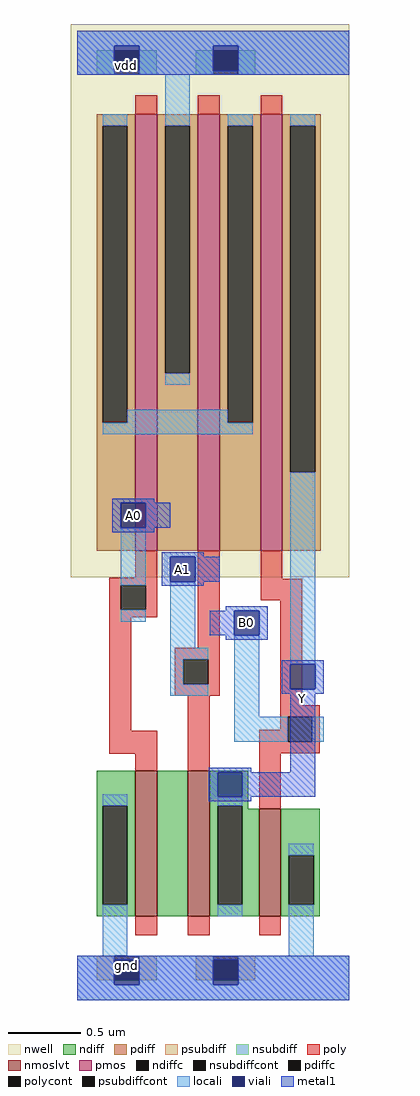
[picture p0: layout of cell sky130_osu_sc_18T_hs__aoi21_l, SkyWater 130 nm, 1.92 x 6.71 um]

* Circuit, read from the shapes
.subckt sky130_osu_sc_18T_hs__aoi21_l A0 B0 Y A1
XM1 n1 A0 gnd gnd sky130_fd_pr__nfet_01v8_lvt w=1 l=0.15
XM2 Y A1 n1 gnd sky130_fd_pr__nfet_01v8_lvt w=1 l=0.15
XM3 gnd B0 Y gnd sky130_fd_pr__nfet_01v8_lvt w=0.74 l=0.15
XM4 vdd A0 n2 vdd sky130_fd_pr__pfet_01v8 w=3 l=0.15
XM5 n2 A1 vdd vdd sky130_fd_pr__pfet_01v8 w=3 l=0.15
XM6 Y B0 n2 vdd sky130_fd_pr__pfet_01v8 w=3 l=0.15
.ends

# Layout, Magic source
magic
tech sky130A
magscale 1 2
<< nwell >>
rect -9 581 374 1341
<< pmos >>
rect 80 617 110 1217
rect 166 617 196 1217
rect 252 617 282 1217
<< nmoslvt >>
rect 80 115 110 315
rect 152 115 182 315
rect 250 115 280 263
<< ndiff >>
rect 27 267 80 315
rect 27 131 35 267
rect 69 131 80 267
rect 27 115 80 131
rect 110 115 152 315
rect 182 267 235 315
rect 182 131 193 267
rect 227 263 235 267
rect 227 131 250 263
rect 182 115 250 131
rect 280 199 333 263
rect 280 131 291 199
rect 325 131 333 199
rect 280 115 333 131
<< pdiff >>
rect 27 1201 80 1217
rect 27 793 35 1201
rect 69 793 80 1201
rect 27 617 80 793
rect 110 1201 166 1217
rect 110 861 121 1201
rect 155 861 166 1201
rect 110 617 166 861
rect 196 1201 252 1217
rect 196 793 207 1201
rect 241 793 252 1201
rect 196 617 252 793
rect 282 1201 335 1217
rect 282 725 293 1201
rect 327 725 335 1201
rect 282 617 335 725
<< ndiffc >>
rect 35 131 69 267
rect 193 131 227 267
rect 291 131 325 199
<< pdiffc >>
rect 35 793 69 1201
rect 121 861 155 1201
rect 207 793 241 1201
rect 293 725 327 1201
<< psubdiff >>
rect 27 27 51 61
rect 85 27 109 61
rect 163 27 187 61
rect 221 27 245 61
<< nsubdiff >>
rect 27 1271 51 1305
rect 85 1271 109 1305
rect 163 1271 187 1305
rect 221 1271 245 1305
<< psubdiffcont >>
rect 51 27 85 61
rect 187 27 221 61
<< nsubdiffcont >>
rect 51 1271 85 1305
rect 187 1271 221 1305
<< poly >>
rect 80 1217 110 1243
rect 166 1217 196 1243
rect 252 1217 282 1243
rect 80 580 110 617
rect 44 570 110 580
rect 44 536 60 570
rect 94 536 110 570
rect 44 526 110 536
rect 44 370 74 526
rect 166 484 196 617
rect 252 579 282 617
rect 252 549 309 579
rect 134 468 196 484
rect 134 434 146 468
rect 180 434 196 468
rect 134 418 196 434
rect 44 338 110 370
rect 80 315 110 338
rect 152 315 182 418
rect 279 405 309 549
rect 279 389 333 405
rect 279 371 289 389
rect 250 355 289 371
rect 323 355 333 389
rect 250 339 333 355
rect 250 263 280 339
rect 80 89 110 115
rect 152 89 182 115
rect 250 89 280 115
<< polycont >>
rect 60 536 94 570
rect 146 434 180 468
rect 289 355 323 389
<< locali >>
rect 0 1311 374 1332
rect 0 1271 51 1311
rect 85 1271 187 1311
rect 221 1271 374 1311
rect 35 1201 69 1217
rect 121 1201 155 1271
rect 121 845 155 861
rect 207 1201 241 1217
rect 69 793 207 811
rect 35 777 241 793
rect 293 1201 327 1217
rect 60 570 94 649
rect 60 520 94 536
rect 128 484 162 575
rect 128 468 180 484
rect 128 434 146 468
rect 128 418 180 434
rect 216 389 250 501
rect 293 461 327 725
rect 216 355 289 389
rect 323 355 339 389
rect 35 267 69 283
rect 35 61 69 131
rect 193 267 227 279
rect 193 115 227 131
rect 291 199 325 215
rect 291 61 325 131
rect 0 21 51 61
rect 85 21 187 61
rect 221 21 374 61
rect 0 0 374 21
<< viali >>
rect 51 1305 85 1311
rect 51 1277 85 1305
rect 187 1305 221 1311
rect 187 1277 221 1305
rect 60 649 94 683
rect 128 575 162 609
rect 216 501 250 535
rect 293 427 327 461
rect 193 279 227 313
rect 51 27 85 55
rect 51 21 85 27
rect 187 27 221 55
rect 187 21 221 27
<< metal1 >>
rect 0 1311 374 1332
rect 0 1277 51 1311
rect 85 1277 187 1311
rect 221 1277 374 1311
rect 0 1271 374 1277
rect 48 683 106 689
rect 48 649 60 683
rect 94 649 128 683
rect 48 643 106 649
rect 116 609 174 615
rect 116 575 128 609
rect 162 575 196 609
rect 116 569 174 575
rect 204 535 262 541
rect 182 501 216 535
rect 250 501 262 535
rect 204 495 262 501
rect 281 461 339 467
rect 281 427 293 461
rect 327 427 339 461
rect 281 421 339 427
rect 181 313 239 319
rect 293 313 327 421
rect 181 279 193 313
rect 227 279 327 313
rect 181 273 239 279
rect 0 55 374 61
rect 0 21 51 55
rect 85 21 187 55
rect 221 21 374 55
rect 0 0 374 21
<< labels >>
rlabel metal1 77 666 77 666 1 A0
port 1 n
rlabel metal1 233 518 233 518 1 B0
port 2 n
rlabel metal1 310 414 310 414 1 Y
port 3 n
rlabel metal1 145 592 145 592 1 A1
port 4 n
rlabel viali 68 48 68 48 1 gnd
rlabel viali 68 1284 68 1284 1 vdd
<< end >>
